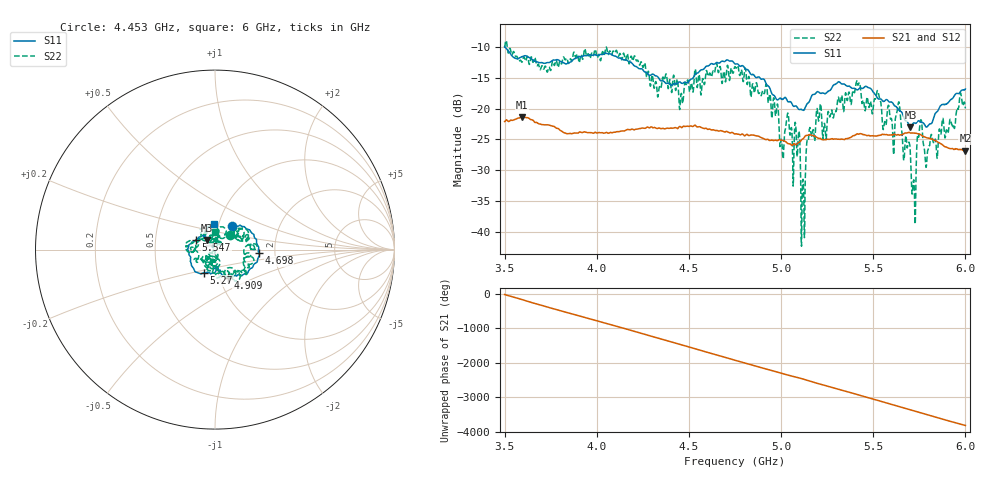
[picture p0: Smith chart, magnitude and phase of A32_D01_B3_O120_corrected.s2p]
! Created with skrf 1.9.0 (http://scikit-rf.org).
# Hz S RI R 50.0
!freq ReS11 ImS11 ReS21 ImS21 ReS12 ImS12 ReS22 ImS22
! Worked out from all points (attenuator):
!   1601 points, 3.5 GHz to 6 GHz, reference 50 ohm
!   highest |S21| = -21.37 dB at 3.592 GHz (marker M1); lowest = -26.9 dB at 6 GHz (marker M2)
!   lowest |S11| = -23.0 dB at 5.702 GHz (marker M3), VSWR 1.15, Z = 45.3 + j4.87 ohm
!   |S11| at or under -10 dB: 3.503 GHz to end of sweep
!   |S22| runs from -42.4 to -8.9 dB; largest |S21 - S12| = 0.0012
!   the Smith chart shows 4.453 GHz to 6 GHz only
!   S11 on the Smith chart (normalised r, x): 4.453 GHz: 1.16, +0.32; 4.698 GHz: 1.64, -0.07; 4.909 GHz: 1.09, -0.35; 5.27 GHz: 0.85, -0.23; 5.547 GHz: 0.81, +0.09; 6 GHz: 0.95, +0.28
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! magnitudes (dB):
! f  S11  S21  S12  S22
! 3.5 GHz  -9.9  -22.1  -22.1  -10.0
! 3.592 GHz  -11.6  -21.4  -21.4  -12.4
! 3.917 GHz  -11.5  -23.9  -23.9  -11.3
! 4.334 GHz  -14.9  -23.2  -23.1  -17.5
! 4.453 GHz  -15.7  -22.9  -22.9  -18.9
! 4.698 GHz  -12.2  -23.8  -23.8  -15.6
! 4.75 GHz  -12.7  -24.1  -24.1  -13.2
! 4.909 GHz  -15.3  -24.9  -24.9  -17.5
! 5.003 GHz  -18.5  -25.2  -25.2  -25.4
! 5.088 GHz  -19.8  -25.7  -25.7  -27.8
! 5.119 GHz  -20.2  -24.9  -24.9  -31.5
! 5.167 GHz  -17.9  -24.3  -24.3  -24.5
! 5.27 GHz  -16.9  -24.9  -24.9  -20.8
! 5.417 GHz  -16.9  -24.1  -24.2  -16.2
! 5.547 GHz  -18.6  -24.2  -24.2  -21.0
! 5.584 GHz  -18.9  -24.3  -24.3  -19.5
! 5.638 GHz  -20.2  -24.2  -24.2  -18.9
! 5.702 GHz  -23.0  -24.0  -24.0  -27.4
! 5.719 GHz  -22.3  -24.0  -23.9  -31.7
! 5.752 GHz  -22.0  -24.2  -24.1  -23.0
! 5.789 GHz  -23.0  -24.7  -24.7  -29.2
! 6 GHz  -16.8  -26.9  -26.8  -19.9
